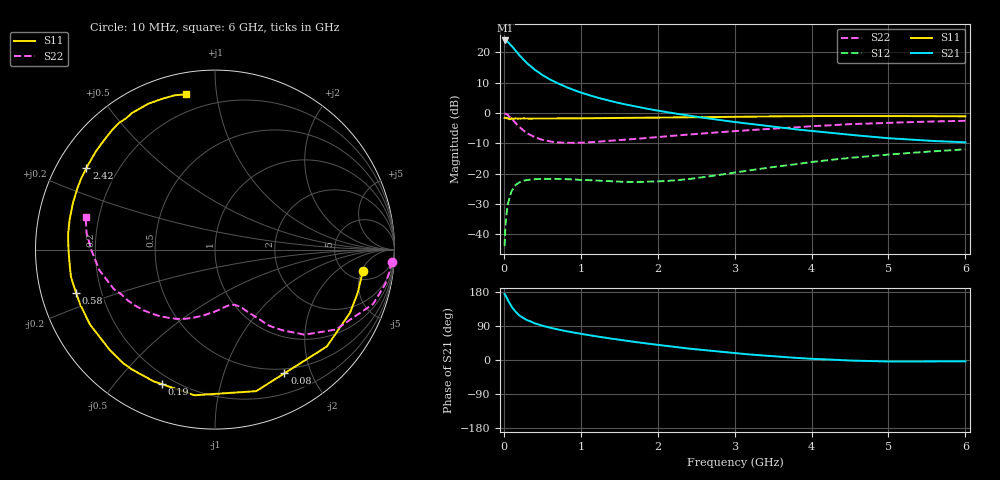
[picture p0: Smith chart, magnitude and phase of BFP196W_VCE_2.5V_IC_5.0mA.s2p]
! Infineon Technologies  Discrete & RF Semiconductors
! BFP196W
! VCE = 2.5 V,  IC = 5.0mA
! Common Emitter S-Parameters:  Jan 2016
# GHz  S  MA  R  50
!  f  S11  S21  S12  S22
! GHz  MAG  ANG  MAG  ANG  MAG  ANG  MAG  ANG
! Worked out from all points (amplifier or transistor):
!   210 points, 10 MHz to 6 GHz, reference 50 ohm
!   highest |S21| = 24.0 dB at 20 MHz (marker M1)
!   |S21| within 3 dB of that: start of sweep to 142.2 MHz
!   unconditionally stable (mu >= 1): 1.442 GHz to 3.312 GHz; 5.981053 GHz to end of sweep
!   at 185 MHz: K = 0.14, MSG = 21.4 dB, |S12| = -23.2 dB
!   at 1.52 GHz: K = 1.06, MAG = 11.4 dB, |S12| = -22.7 dB
!   at 6 GHz: K = 1.00, MAG = 0.9 dB, |S12| = -12.0 dB
!   S11 on the Smith chart (normalised r, x): 10 MHz: 6.75, -5.28; 80 MHz: 0.44, -1.62; 190 MHz: 0.16, -0.67; 580 MHz: 0.11, -0.15; 2.42 GHz: 0.09, +0.29; 6 GHz: 0.11, +0.83
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0.01  0.8325 -8.3  15.6 174.1  0.0063 83.7  0.9866 -3.9
0.02  0.8308 -16.9  15.79 171.2  0.0127 82.2  0.9782 -7.8
0.03  0.8305 -25.1  15.62 167.0  0.019 78.1  0.9672 -11.6
0.05  0.8245 -40.9  15.08 158.4  0.0301 69.0  0.9318 -18.9
0.08  0.7903 -60.7  13.65 148.4  0.0423 57.8  0.8508 -27.1
0.1  0.8214 -73.8  12.96 140.7  0.0509 53.4  0.8081 -33.4
0.145  0.8133 -95.6  11.08 128.9  0.0626 43.0  0.6996 -42.3
0.19  0.8062 -111.4  9.407 120.1  0.0697 35.6  0.6079 -48.5
0.2  0.8098 -114.8  9.062 117.9  0.0712 34.2  0.5885 -49.9
0.24  0.8123 -124.7  8.003 112.6  0.0748 29.8  0.5339 -53.6
0.3  0.8104 -136.2  6.655 105.3  0.078 24.8  0.464 -57.3
0.4  0.8121 -149.1  5.206 96.8  0.0807 19.4  0.3983 -61.8
0.58  0.8106 -162.8  3.705 86.3  0.0818 14.6  0.3426 -67.3
0.8  0.8143 -173.6  2.709 76.4  0.0805 12.4  0.3225 -73.3
1.02  0.8169 179.0  2.138 68.5  0.0782 12.1  0.3237 -79.8
1.4  0.8269 168.9  1.563 56.2  0.0746 15.5  0.3485 -91.0
2.02  0.8399 155.4  1.084 39.5  0.0742 29.1  0.4017 -108.7
2.42  0.8488 147.6  0.899 29.8  0.0815 38.1  0.4427 -119.5
3.1  0.8674 135.6  0.685 16.4  0.1082 47.3  0.5114 -137.3
4.1  0.8902 120.0  0.492 2.4  0.1601 46.6  0.613 -161.1
5.1  0.8891 108.2  0.376 -4.0  0.2102 39.1  0.6942 178.7
6  0.8803 100.4  0.328 -3.4  0.251 31.8  0.7426 165.9
